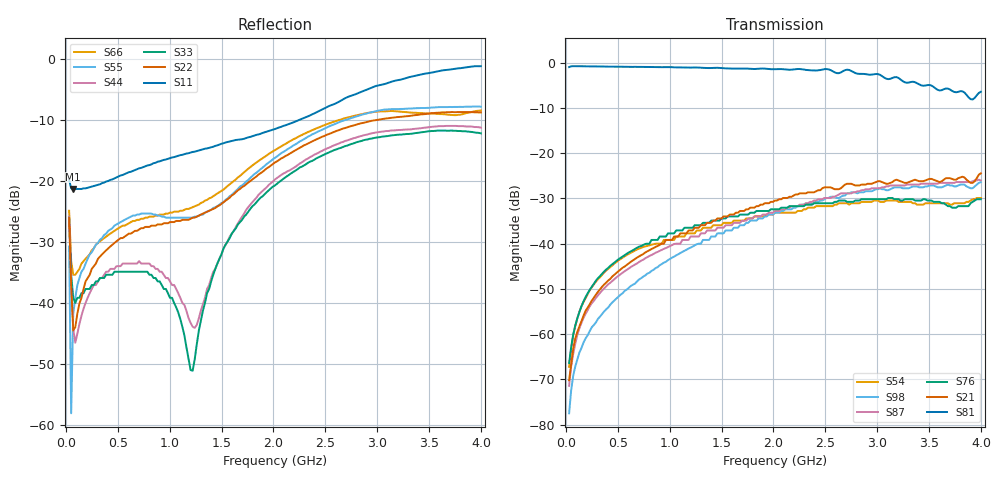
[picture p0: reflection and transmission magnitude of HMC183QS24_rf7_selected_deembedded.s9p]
!Hittite Microwave Corporation
!12 Elizabeth Drive
!Chelmsford, MA 01824
!Tel: 978-250-3343
!Fax: 978-250-3373
!Device: HMC183QS24, DC-2 GHz GaAS MMIC SP8T Non-Reflective Switch in 24-lead QSOP package
!Misc: Port 1 = RFCom, Port 2 = RF1, Port 3 = RF2, Port 4 = RF3, Port 5 = RF4, Port 6 = RF5, Port 7 = RF6, Port 8 = RF7, Port 9 = RF8, RF7 selected, Vctl=0/-5V
# MHZ S MA R 50
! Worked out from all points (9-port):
!   201 points, 30 MHz to 4 GHz, reference 50 ohm
!   strongest paths, dB at 30 MHz, 1.022 GHz, 2.015 GHz, 3.007 GHz, 4 GHz:
!     S81: -1.0, -1.0, -1.4, -2.5, -6.4
!     S21: -70.2, -39.2, -30.5, -26.2, -24.4
!     S76: -66.4, -37.7, -32.4, -30.2, -30.2
!     S87: -71.4, -40.3, -32.8, -27.7, -26.0
!     S98: -77.5, -43.1, -33.2, -28.0, -26.4
!     S54: -67.2, -39.2, -33.2, -30.5, -29.9
!   lowest |S11| = -21.3 dB at 69.7 MHz (marker M1), VSWR 1.19, Z = 59 - j2.54 ohm
!   |S11| at or under -10 dB: start of sweep to 2.246 GHz
